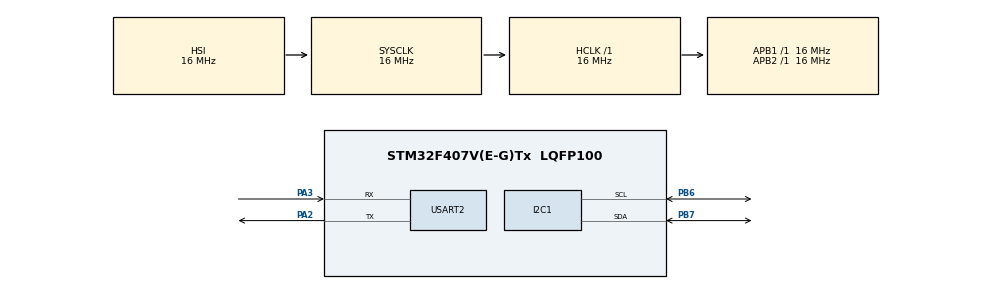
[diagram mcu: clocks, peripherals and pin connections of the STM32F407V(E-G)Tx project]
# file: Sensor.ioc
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Mcu.Family=STM32F4
Mcu.Name=STM32F407V(E-G)Tx
Mcu.Package=LQFP100
NVIC.PriorityGroup=NVIC_PRIORITYGROUP_4
PA2.Mode=Asynchronous
PA2.Signal=USART2_TX
PA3.Mode=Asynchronous
PA3.Signal=USART2_RX
PB6.Mode=I2C
PB6.Signal=I2C1_SCL
PB7.Mode=I2C
PB7.Signal=I2C1_SDA
ProjectManager.HeapSize=0x200
ProjectManager.StackSize=0x400
ProjectManager.TargetToolchain=STM32CubeIDE
RCC.AHBFreq_Value=16000000
RCC.APB1Freq_Value=16000000
RCC.APB2Freq_Value=16000000
RCC.CortexFreq_Value=16000000
RCC.HSE_VALUE=25000000
RCC.HSI_VALUE=16000000
RCC.LSE_VALUE=32768
RCC.SYSCLKFreq_VALUE=16000000
RCC.VCOOutputFreq_Value=192000000
USART2.VirtualMode=VM_ASYNC
board=custom

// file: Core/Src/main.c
/* USER CODE BEGIN Header */
/**
  ******************************************************************************
  * @file           : main.c
  * @brief          : Main program body
  ******************************************************************************
  * @attention
  *
  * Copyright (c) 2023 STMicroelectronics.
  * All rights reserved.
  *
  * This software is licensed under terms that can be found in the LICENSE file
  * in the root directory of this software component.
  * If no LICENSE file comes with this software, it is provided AS-IS.
  *
  ******************************************************************************
  */
/* USER CODE END Header */
#include "main.h"

I2C_HandleTypeDef hi2c1;

UART_HandleTypeDef huart2;

void SystemClock_Config(void);
static void MX_GPIO_Init(void);
static void MX_I2C1_Init(void);
static void MX_USART2_UART_Init(void);

/* USER CODE BEGIN 0 */
#include "sht3x.h"
#include "ads1115.h"

int __io_putchar(int ch)
{
  HAL_UART_Transmit(&huart2, (uint8_t *)&ch, 1, 10);
  return ch;
}

uint32_t i2c_read(uint8_t dev_addr, uint16_t mem_addr, uint16_t mem_size, uint8_t* data, uint16_t size, uint32_t timeout)
{
  // address(7bit) + R/W(R = 0x01, W = 0x00)을 붙여서 read를 하도록 한다.
  if (HAL_I2C_Mem_Read(&hi2c1, (uint16_t)(dev_addr << 1) | 0x01, mem_addr, mem_size, data, size, timeout) != HAL_OK) {
    printf("ERROR :: HAL_I2C_Mem_Read() : dev_addr = 0x%02x, ErrCode = 0x%08lx\r\n", dev_addr, hi2c1.ErrorCode);
    return hi2c1.ErrorCode;
  }

  return 0;
}

uint32_t i2c_write(uint8_t dev_addr, uint16_t mem_addr, uint16_t mem_size, uint8_t* data, uint16_t size, uint32_t timeout)
{
  if (HAL_I2C_Mem_Write(&hi2c1, (uint16_t)(dev_addr << 1), mem_addr, mem_size, data, size, timeout) != HAL_OK) {
    printf("ERROR :: HAL_I2C_Mem_Write() : dev_addr = 0x%02x, ErrCode = 0x%08lx\r\n", dev_addr, hi2c1.ErrorCode);
    return hi2c1.ErrorCode;
  }

  return 0;
}

/* USER CODE END 0 */

int main(void)
{

  /* MCU Configuration--------------------------------------------------------*/

  /* Reset of all peripherals, Initializes the Flash interface and the Systick. */
  HAL_Init();

  /* Configure the system clock */
  SystemClock_Config();

  /* Initialize all configured peripherals */
  MX_GPIO_Init();
  MX_I2C1_Init();
  MX_USART2_UART_Init();

  /* Infinite loop */
  /* USER CODE BEGIN WHILE */
  uint32_t count = 0;
  float ads1115_temperature[4];
  float sht3x_temperature, sht3x_humidity;

  while (1)
  {
    for(int i = 0 ; i < 4 ; i++) {
      ads1115_read_temperature(i, &ads1115_temperature[i]);
      sht3x_read_temperature_humidity(&sht3x_temperature, &sht3x_humidity);
    }
    printf("count = %ld, ads1115_temperature = [%5.2f, %5.2f, %5.2f, %5.2f], sht3x_temperature = %5.2f, sht3x_humdity = %5.2f",
        count++, ads1115_temperature[0], ads1115_temperature[1], ads1115_temperature[2], ads1115_temperature[3], sht3x_temperature, sht3x_humidity);
    HAL_Delay(1000);
    /* USER CODE END WHILE */

  }
}

void SystemClock_Config(void)
{
  RCC_OscInitTypeDef RCC_OscInitStruct = {0};
  RCC_ClkInitTypeDef RCC_ClkInitStruct = {0};

  /** Configure the main internal regulator output voltage
  */
  __HAL_RCC_PWR_CLK_ENABLE();
  __HAL_PWR_VOLTAGESCALING_CONFIG(PWR_REGULATOR_VOLTAGE_SCALE1);

  /** Initializes the RCC Oscillators according to the specified parameters
  * in the RCC_OscInitTypeDef structure.
  */
  RCC_OscInitStruct.OscillatorType = RCC_OSCILLATORTYPE_HSI;
  RCC_OscInitStruct.HSIState = RCC_HSI_ON;
  RCC_OscInitStruct.HSICalibrationValue = RCC_HSICALIBRATION_DEFAULT;
  RCC_OscInitStruct.PLL.PLLState = RCC_PLL_NONE;
  if (HAL_RCC_OscConfig(&RCC_OscInitStruct) != HAL_OK)
  {
    Error_Handler();
  }

  /** Initializes the CPU, AHB and APB buses clocks
  */
  RCC_ClkInitStruct.ClockType = RCC_CLOCKTYPE_HCLK|RCC_CLOCKTYPE_SYSCLK
                              |RCC_CLOCKTYPE_PCLK1|RCC_CLOCKTYPE_PCLK2;
  RCC_ClkInitStruct.SYSCLKSource = RCC_SYSCLKSOURCE_HSI;
  RCC_ClkInitStruct.AHBCLKDivider = RCC_SYSCLK_DIV1;
  RCC_ClkInitStruct.APB1CLKDivider = RCC_HCLK_DIV1;
  RCC_ClkInitStruct.APB2CLKDivider = RCC_HCLK_DIV1;

  if (HAL_RCC_ClockConfig(&RCC_ClkInitStruct, FLASH_LATENCY_0) != HAL_OK)
  {
    Error_Handler();
  }
}

static void MX_I2C1_Init(void)
{

  hi2c1.Instance = I2C1;
  hi2c1.Init.ClockSpeed = 100000;
  hi2c1.Init.DutyCycle = I2C_DUTYCYCLE_2;
  hi2c1.Init.OwnAddress1 = 0;
  hi2c1.Init.AddressingMode = I2C_ADDRESSINGMODE_7BIT;
  hi2c1.Init.DualAddressMode = I2C_DUALADDRESS_DISABLE;
  hi2c1.Init.OwnAddress2 = 0;
  hi2c1.Init.GeneralCallMode = I2C_GENERALCALL_DISABLE;
  hi2c1.Init.NoStretchMode = I2C_NOSTRETCH_DISABLE;
  if (HAL_I2C_Init(&hi2c1) != HAL_OK)
  {
    Error_Handler();
  }

}

static void MX_USART2_UART_Init(void)
{

  huart2.Instance = USART2;
  huart2.Init.BaudRate = 115200;
  huart2.Init.WordLength = UART_WORDLENGTH_8B;
  huart2.Init.StopBits = UART_STOPBITS_1;
  huart2.Init.Parity = UART_PARITY_NONE;
  huart2.Init.Mode = UART_MODE_TX_RX;
  huart2.Init.HwFlowCtl = UART_HWCONTROL_NONE;
  huart2.Init.OverSampling = UART_OVERSAMPLING_16;
  if (HAL_UART_Init(&huart2) != HAL_OK)
  {
    Error_Handler();
  }

}

static void MX_GPIO_Init(void)
{

  /* GPIO Ports Clock Enable */
  __HAL_RCC_GPIOA_CLK_ENABLE();
  __HAL_RCC_GPIOB_CLK_ENABLE();

}

void Error_Handler(void)
{
  __disable_irq();
  while (1)
  {
  }
}
